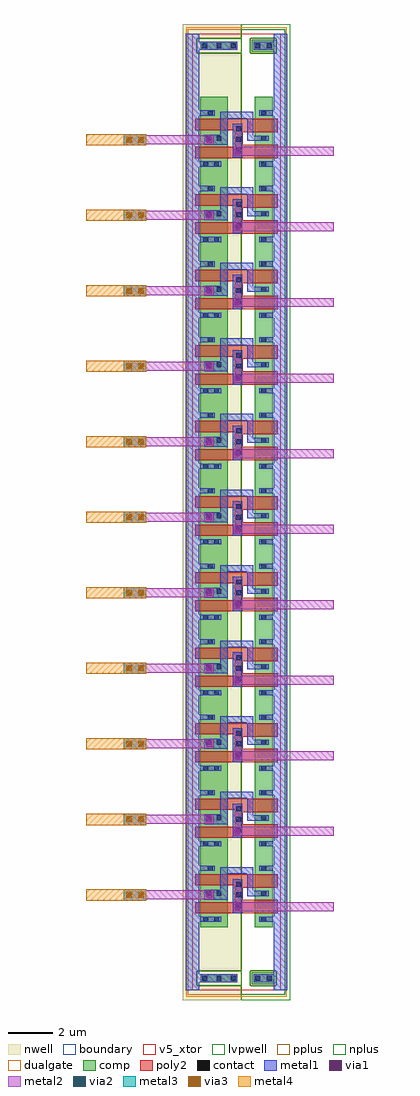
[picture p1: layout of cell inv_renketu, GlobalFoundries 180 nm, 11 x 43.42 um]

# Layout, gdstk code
from math import pi, radians
import gdstk
lib = gdstk.Library(unit=1e-6, precision=1e-09)
def R(c, l, rs):  # rectangles x0, y0, x1, y1
    for r in rs: c.add(gdstk.rectangle(r[:2], r[2:], *l))
def A(c, l, x, y, w, h, nx, ny, dx, dy):  # array of equal rectangles
    R(c, l, [(x+i*dx, y+j*dy, x+i*dx+w, y+j*dy+h) for i in range(nx) for j in range(ny)])
def P(c, l, *ps):  # polygons
    for p in ps: c.add(gdstk.Polygon(p, *l))
boundary = (0, 0)
nwell = (21, 0)
comp = (22, 0)
poly2 = (30, 0)
pplus = (31, 0)
nplus = (32, 0)
contact = (33, 0)
metal1 = (34, 0)
via1 = (35, 0)
metal2 = (36, 0)
via2 = (38, 0)
via3 = (40, 0)
metal3 = (42, 0)
metal4 = (46, 0)
dualgate = (55, 0)
v5_xtor = (112, 1)
lvpwell = (204, 0)

inv_1 = lib.new_cell('inv$1')
R(inv_1, boundary, [(0,0,3.36,3.92)])
R(inv_1, nwell, [(-0.43,1.76,3.79,4.35)])
R(inv_1, comp, [(0,0.34,3.36,1.16), (0,2.36,3.36,3.58)])
P(inv_1, poly2, [(0.62,0.12),(0.62,3.8),(1.12,3.8),(1.12,2.035),(1.87,2.035),(1.87,3.8),(2.37,3.8),(2.37,0.12),(1.77,0.12),(1.77,1.675),(1.22,1.675),(1.22,0.12)])
R(inv_1, pplus, [(-0.2,1.76,3.56,4.12)])
R(inv_1, nplus, [(-0.2,-0.2,3.56,1.76)])
A(inv_1, contact, 0.875, 1.745, 0.22, 0.22, 3, 1, 0.47, 0)
R(inv_1, contact, [(0.25,0.63,0.47,0.85), (1.4,0.63,1.62,0.85), (2.52,0.63,2.74,0.85), (1.4,2.63,1.62,2.85), (0.25,2.74,0.47,2.96), (2.52,3.01,2.74,3.23), (1.4,3.1,1.62,3.32), (0.25,3.21,0.47,3.43)])
R(inv_1, metal1, [(0.63,1.705,2.15,2.12)])
P(inv_1, metal1, [(1.395,0.53),(1.395,1.475),(2.38,1.475),(2.38,2.36),(1.22,2.36),(1.22,3.39),(1.67,3.39),(1.67,2.68),(2.68,2.68),(2.68,1.22),(1.625,1.22),(1.625,0.53)],
  [(0,-0.3),(0,0.3),(0.245,0.3),(0.245,0.95),(0.475,0.95),(0.475,0.3),(2.515,0.3),(2.515,0.95),(2.745,0.95),(2.745,0.3),(3.36,0.3),(3.36,-0.3)],
  [(0.245,2.64),(0.245,3.62),(0,3.62),(0,4.22),(3.36,4.22),(3.36,3.62),(2.745,3.62),(2.745,2.93),(2.515,2.93),(2.515,3.62),(0.475,3.62),(0.475,2.64)])
R(inv_1, dualgate, [(-0.28,-0.28,3.64,4.2)])
R(inv_1, v5_xtor, [(0,0,3.36,3.92)])
R(inv_1, lvpwell, [(-0.43,-0.43,3.79,1.76)])
inv_1.add(gdstk.Label('VSS', (1.68,-0.025), layer=34, texttype=10))
inv_1.add(gdstk.Label('ZN', (1.96,2.52), layer=34, texttype=10))
inv_1.add(gdstk.Label('I', (1.4,1.96), layer=34, texttype=10))
inv_1.add(gdstk.Label('VDD', (1.68,3.93), layer=34, texttype=10))
inv_1.add(gdstk.Label('& Vendor GLOBALFOUNDRIES', (0,2), layer=63, texttype=63))
inv_1.add(gdstk.Label('& Product GF018hv5v_mcu_sc7', (0,1.5), layer=63, texttype=63))
inv_1.add(gdstk.Label('& Version 2015q2v1', (0,1), layer=63, texttype=63))
inv_1.add(gdstk.Label('& Metric 1.00', (0,0.5), layer=63, texttype=63))
inv_1.add(gdstk.Label('VNW', (0.345,3.92), layer=21, texttype=10))
inv_1.add(gdstk.Label('VPW', (0.34,-0.085), layer=204, texttype=10))

dummy_inv_1 = lib.new_cell('dummy_inv$1')
R(dummy_inv_1, boundary, [(-7.563,-42.717,-3.643,-41.597), (-7.563,-41.597,-3.643,-40.477), (-7.563,-40.477,-3.643,-39.917)])
R(dummy_inv_1, nwell, [(-7.993,-43.147,-5.403,-41.167), (-7.993,-42.027,-5.403,-40.047), (-7.993,-40.907,-5.403,-39.487)])
R(dummy_inv_1, comp, [(-4.923,-42.437,-3.923,-41.917), (-7.203,-42.357,-5.563,-41.997)])
R(dummy_inv_1, pplus, [(-5.003,-42.517,-3.843,-41.837), (-7.763,-41.797,-5.403,-40.277), (-7.763,-40.677,-5.403,-39.717)])
P(dummy_inv_1, pplus, [(-7.763,-42.917),(-7.763,-41.397),(-5.403,-41.397),(-5.403,-41.837),(-7.363,-41.837),(-7.363,-42.517),(-5.403,-42.517),(-5.403,-42.917)])
R(dummy_inv_1, nplus, [(-5.403,-41.797,-3.443,-40.277), (-5.403,-40.677,-3.443,-39.717)])
P(dummy_inv_1, nplus, [(-5.403,-42.917),(-5.403,-42.517),(-7.363,-42.517),(-7.363,-41.837),(-5.003,-41.837),(-5.003,-42.517),(-3.843,-42.517),(-3.843,-41.837),(-7.363,-41.837),(-5.403,-41.837),(-5.403,-41.397),(-3.443,-41.397),(-3.443,-42.917)])
A(dummy_inv_1, contact, -7.133, -42.287, 0.22, 0.22, 3, 1, 0.64, 0)
R(dummy_inv_1, contact, [(-4.768,-42.287,-4.548,-42.067), (-4.263,-42.287,-4.043,-42.067)])
R(dummy_inv_1, metal1, [(-7.863,-41.597,-7.263,-40.477), (-3.943,-41.597,-3.343,-40.477), (-7.863,-40.477,-7.263,-39.917), (-3.943,-40.477,-3.343,-39.917)])
P(dummy_inv_1, metal1, [(-3.943,-42.717),(-3.943,-42.347),(-4.833,-42.347),(-4.833,-42.007),(-3.943,-42.007),(-3.943,-41.597),(-3.343,-41.597),(-3.343,-42.717)],
  [(-7.863,-42.717),(-7.863,-41.597),(-7.263,-41.597),(-7.263,-42.007),(-5.563,-42.007),(-5.563,-42.347),(-7.263,-42.347),(-7.263,-42.717)])
R(dummy_inv_1, dualgate, [(-7.843,-42.997,-3.363,-41.317), (-7.843,-41.877,-3.363,-40.197), (-7.843,-40.757,-3.363,-39.637)])
R(dummy_inv_1, v5_xtor, [(-7.563,-42.717,-3.643,-41.597), (-7.563,-41.597,-3.643,-40.477), (-7.563,-40.477,-3.643,-39.917)])
R(dummy_inv_1, lvpwell, [(-5.403,-43.147,-3.213,-41.167), (-5.403,-42.027,-3.213,-40.047), (-5.403,-40.907,-3.213,-39.487)])
dummy_inv_1.add(gdstk.Label('VDD', (-7.533,-41.087), layer=34, texttype=10))
dummy_inv_1.add(gdstk.Label('VSS', (-3.643,-41.077), layer=34, texttype=10))
dummy_inv_1.add(gdstk.Label('VDD', (-7.533,-40.202), layer=34, texttype=10))
dummy_inv_1.add(gdstk.Label('VSS', (-3.668,-40.212), layer=34, texttype=10))
dummy_inv_1.add(gdstk.Label('VSS', (-3.653,-42.157), layer=34, texttype=10))
dummy_inv_1.add(gdstk.Label('VSS', (-3.633,-42.157), layer=34, texttype=10))
dummy_inv_1.add(gdstk.Label('VDD', (-7.578,-42.157), layer=34, texttype=10))
dummy_inv_1.add(gdstk.Label('VNW', (-7.563,-41.252), layer=21, texttype=10))
dummy_inv_1.add(gdstk.Label('VNW', (-7.563,-40.132), layer=21, texttype=10))
dummy_inv_1.add(gdstk.Label('VPW', (-3.558,-40.137), layer=204, texttype=10))
dummy_inv_1.add(gdstk.Label('VPW', (-3.558,-41.257), layer=204, texttype=10))

dummy_inv = lib.new_cell('dummy_inv')
R(dummy_inv, boundary, [(-1.987,-1.155,1.933,-0.035), (-1.987,-0.035,1.933,1.085), (-1.987,1.085,1.933,1.645)])
R(dummy_inv, nwell, [(-2.417,-1.585,0.173,0.395), (-2.417,-0.465,0.173,1.515), (-2.417,0.655,0.173,2.075)])
R(dummy_inv, comp, [(0.653,-0.875,1.653,-0.355), (-1.627,-0.795,0.013,-0.435)])
R(dummy_inv, pplus, [(0.573,-0.955,1.733,-0.275), (-2.187,-0.235,0.173,1.285), (-2.187,0.885,0.173,1.845)])
P(dummy_inv, pplus, [(-2.187,-1.355),(-2.187,0.165),(0.173,0.165),(0.173,-0.275),(-1.787,-0.275),(-1.787,-0.955),(0.173,-0.955),(0.173,-1.355)])
R(dummy_inv, nplus, [(0.173,-0.235,2.133,1.285), (0.173,0.885,2.133,1.845)])
P(dummy_inv, nplus, [(0.173,-1.355),(0.173,-0.955),(-1.787,-0.955),(-1.787,-0.275),(0.573,-0.275),(0.573,-0.955),(1.733,-0.955),(1.733,-0.275),(-1.787,-0.275),(0.173,-0.275),(0.173,0.165),(2.133,0.165),(2.133,-1.355)])
A(dummy_inv, contact, -1.557, -0.725, 0.22, 0.22, 3, 1, 0.64, 0)
R(dummy_inv, contact, [(0.808,-0.725,1.028,-0.505), (1.313,-0.725,1.533,-0.505)])
R(dummy_inv, metal1, [(-2.287,-0.035,-1.687,1.085), (1.633,-0.035,2.233,1.085), (-2.287,1.085,-1.687,1.645), (1.633,1.085,2.233,1.645)])
P(dummy_inv, metal1, [(1.633,-1.155),(1.633,-0.785),(0.743,-0.785),(0.743,-0.445),(1.633,-0.445),(1.633,-0.035),(2.233,-0.035),(2.233,-1.155)],
  [(-2.287,-1.155),(-2.287,-0.035),(-1.687,-0.035),(-1.687,-0.445),(0.013,-0.445),(0.013,-0.785),(-1.687,-0.785),(-1.687,-1.155)])
R(dummy_inv, dualgate, [(-2.267,-1.435,2.213,0.245), (-2.267,-0.315,2.213,1.365), (-2.267,0.805,2.213,1.925)])
R(dummy_inv, v5_xtor, [(-1.987,-1.155,1.933,-0.035), (-1.987,-0.035,1.933,1.085), (-1.987,1.085,1.933,1.645)])
R(dummy_inv, lvpwell, [(0.173,-1.585,2.363,0.395), (0.173,-0.465,2.363,1.515), (0.173,0.655,2.363,2.075)])
dummy_inv.add(gdstk.Label('VDD', (-1.957,0.475), layer=34, texttype=10))
dummy_inv.add(gdstk.Label('VSS', (1.933,0.485), layer=34, texttype=10))
dummy_inv.add(gdstk.Label('VDD', (-1.957,1.36), layer=34, texttype=10))
dummy_inv.add(gdstk.Label('VSS', (1.908,1.35), layer=34, texttype=10))
dummy_inv.add(gdstk.Label('VSS', (1.923,-0.595), layer=34, texttype=10))
dummy_inv.add(gdstk.Label('VSS', (1.943,-0.595), layer=34, texttype=10))
dummy_inv.add(gdstk.Label('VDD', (-2.002,-0.595), layer=34, texttype=10))
dummy_inv.add(gdstk.Label('VNW', (-1.987,0.31), layer=21, texttype=10))
dummy_inv.add(gdstk.Label('VNW', (-1.987,1.43), layer=21, texttype=10))
dummy_inv.add(gdstk.Label('VPW', (2.018,1.425), layer=204, texttype=10))
dummy_inv.add(gdstk.Label('VPW', (2.018,0.305), layer=204, texttype=10))

inv_renketu = lib.new_cell('inv_renketu')
R(inv_renketu, comp, [(-0.44,-14.94,0.78,17.93), (1.98,-14.94,2.8,17.93)])
A(inv_renketu, metal1, -0.23, -17.235, 0.4, 0.4, 1, 11, 0, 3.36)
R(inv_renketu, metal1, [(1.025,15.84,1.425,16.24)])
A(inv_renketu, via1, 1.095, -17.69, 0.26, 0.26, 1, 11, 0, 3.36)
A(inv_renketu, via1, -0.16, -17.165, 0.26, 0.26, 1, 11, 0, 3.36)
A(inv_renketu, metal2, 1.025, -17.76, 4.475, 0.4, 1, 11, 0, 3.36)
A(inv_renketu, metal2, -3.83, -17.285, 0.5, 0.5, 1, 11, 0, 3.36)
A(inv_renketu, metal2, -3.33, -17.285, 0.5, 0.5, 1, 11, 0, 3.36)
A(inv_renketu, metal2, -3.83, -17.235, 4, 0.4, 1, 11, 0, 3.36)
A(inv_renketu, via2, -3.72, -17.165, 0.26, 0.26, 1, 11, 0, 3.36)
A(inv_renketu, via2, -3.2, -17.165, 0.26, 0.26, 1, 11, 0, 3.36)
A(inv_renketu, via3, -3.72, -17.165, 0.26, 0.26, 1, 11, 0, 3.36)
A(inv_renketu, via3, -3.2, -17.165, 0.26, 0.26, 1, 11, 0, 3.36)
A(inv_renketu, metal3, -3.83, -17.285, 0.5, 0.5, 1, 11, 0, 3.36)
A(inv_renketu, metal3, -3.33, -17.285, 0.5, 0.5, 1, 11, 0, 3.36)
A(inv_renketu, metal4, -5.5, -17.285, 2.67, 0.5, 1, 11, 0, 3.36)
A(inv_renketu, metal4, -3.83, -17.285, 0.5, 0.5, 1, 11, 0, 3.36)
A(inv_renketu, metal4, -3.33, -17.285, 0.5, 0.5, 1, 11, 0, 3.36)
inv_renketu.add(gdstk.Reference(inv_1, (3.14,-15.12), rotation=pi/2))
inv_renketu.add(gdstk.Reference(inv_1, (3.14,-11.76), rotation=pi/2))
inv_renketu.add(gdstk.Reference(inv_1, (3.14,-8.4), rotation=pi/2))
inv_renketu.add(gdstk.Reference(inv_1, (3.14,-5.04), rotation=pi/2))
inv_renketu.add(gdstk.Reference(inv_1, (3.14,-1.68), rotation=pi/2))
inv_renketu.add(gdstk.Reference(inv_1, (3.14,1.68), rotation=pi/2))
inv_renketu.add(gdstk.Reference(inv_1, (3.14,5.04), rotation=pi/2))
inv_renketu.add(gdstk.Reference(inv_1, (3.14,11.76), rotation=pi/2))
inv_renketu.add(gdstk.Reference(inv_1, (3.14,-18.48), rotation=pi/2))
inv_renketu.add(gdstk.Reference(inv_1, (3.14,8.4), rotation=pi/2))
inv_renketu.add(gdstk.Reference(inv_1, (3.14,15.12), rotation=pi/2))
inv_renketu.add(gdstk.Reference(dummy_inv_1, (6.783,21.437)))
inv_renketu.add(gdstk.Reference(dummy_inv, (1.207,20.125), x_reflection=True))

lib.write_gds('inv_renketu.gds')
